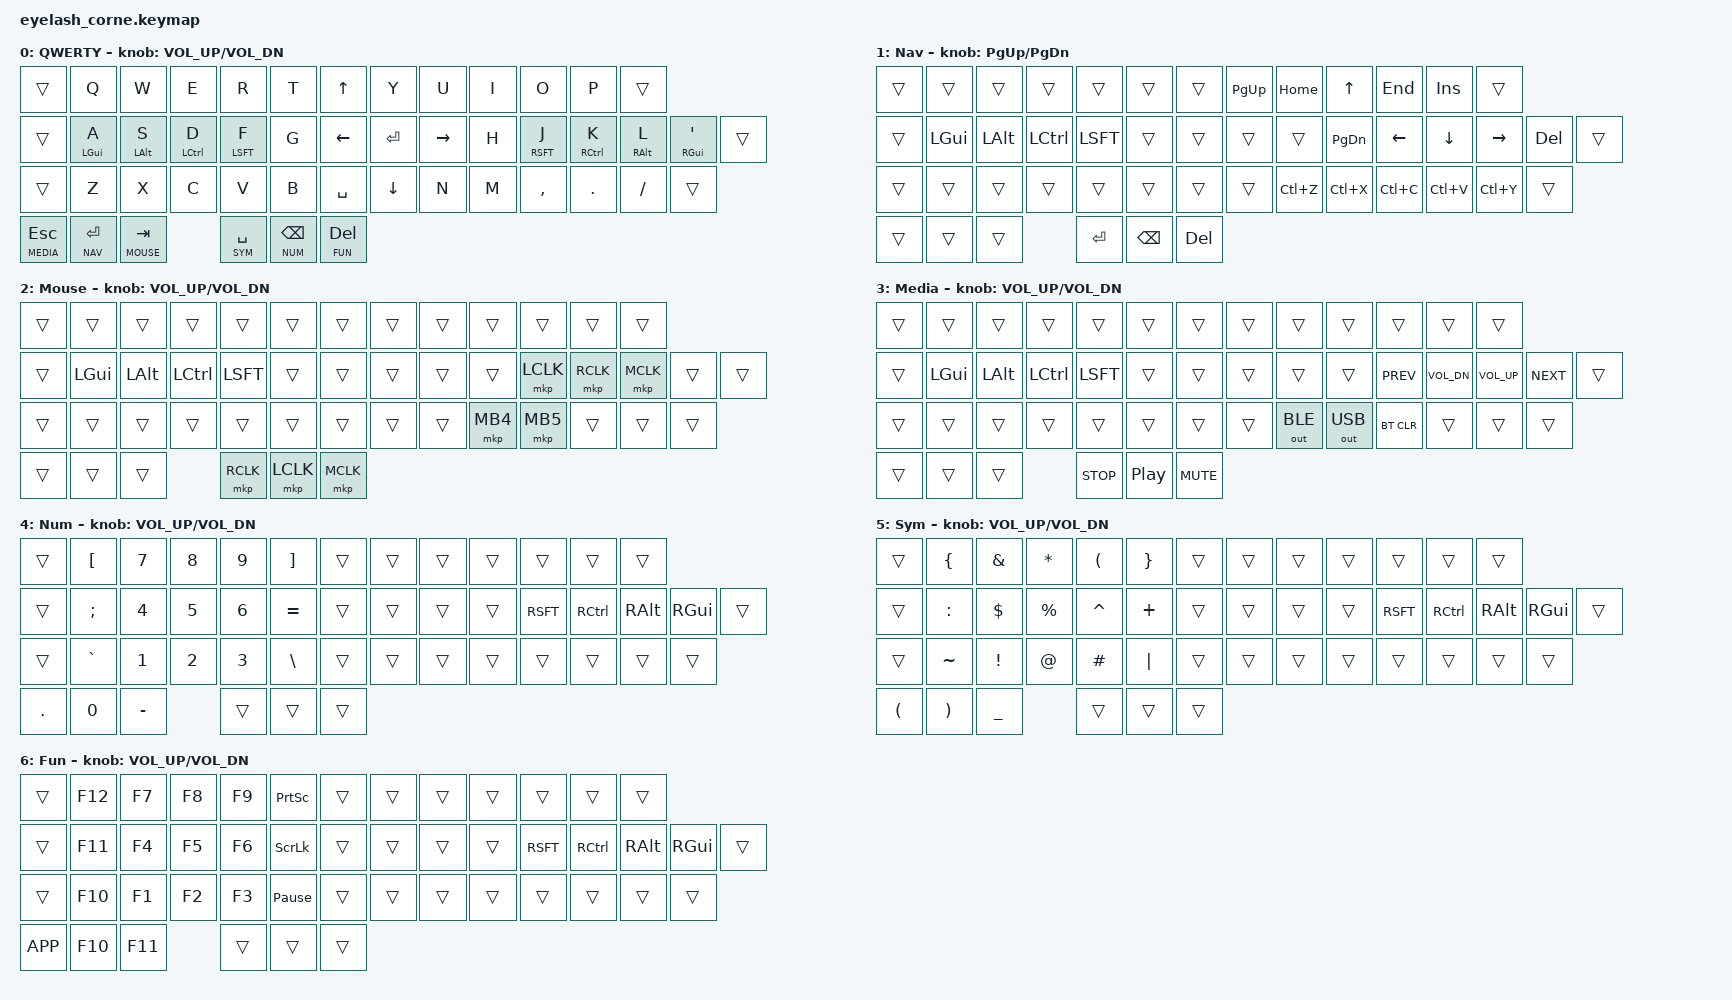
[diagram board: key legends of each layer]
/*
 * Miryoku · QWERTY · Windows clipboard
 * for Eyelash Corne (42-key + encoder left + joystick right)
 */

#include <behaviors.dtsi>
#include <dt-bindings/zmk/bt.h>
#include <dt-bindings/zmk/keys.h>
#include <dt-bindings/zmk/mouse.h>
#include <dt-bindings/zmk/outputs.h>

#define BASE  0
#define NAV   1
#define MOUSE 2
#define MEDIA 3
#define NUM   4
#define SYM   5
#define FUN   6

/ {
    behaviors {
        hm: homerow_mods {
            compatible = "zmk,behavior-hold-tap";
            label = "HOMEROW_MODS";
            #binding-cells = <2>;
            tapping-term-ms = <200>;
            quick-tap-ms = <0>;
            flavor = "tap-preferred";
            bindings = <&kp>, <&kp>;
        };
    };

    keymap {
        compatible = "zmk,keymap";

        base_layer {
            display-name = "QWERTY";
            bindings = <
// 13: outer_L  Q           W           E           R           T           joy_up      Y           U           I           O           P           outer_R
   &trans       &kp Q       &kp W       &kp E       &kp R       &kp T       &kp UP      &kp Y       &kp U       &kp I       &kp O       &kp P       &trans
// 15: outer_L  A(gui)      S(alt)      D(ctl)      F(sft)      G           joy_L       joy_press   joy_R       H           J(sft)      K(ctl)      L(alt)      '(gui)      outer_R
   &trans       &hm LGUI A  &hm LALT S  &hm LCTL D  &hm LSFT F  &kp G       &kp LEFT    &kp RET     &kp RIGHT   &kp H       &hm RSFT J  &hm RCTL K  &hm RALT L  &hm RGUI SQT &trans
// 14: outer_L  Z           X           C           V           B           enc_press   joy_dn      N           M           ,           .           /           outer_R
   &trans       &kp Z       &kp X       &kp C       &kp V       &kp B       &kp SPACE   &kp DOWN    &kp N       &kp M       &kp COMMA   &kp DOT     &kp FSLH    &trans
// 6 thumbs:
    &lt MEDIA ESC  &lt NAV RET  &lt MOUSE TAB  &lt SYM SPC  &lt NUM BSPC  &lt FUN DEL
            >;
            sensor-bindings = <&inc_dec_kp C_VOL_UP C_VOL_DN>;
        };

        nav_layer {
            display-name = "Nav";
            bindings = <
   &trans  &trans    &trans    &trans    &trans    &trans    &trans  &kp PG_UP  &kp HOME   &kp UP     &kp END    &kp INS    &trans
   &trans  &kp LGUI  &kp LALT  &kp LCTL  &kp LSFT  &trans    &trans  &trans     &trans     &kp PG_DN  &kp LEFT   &kp DOWN   &kp RIGHT  &kp DEL   &trans
   &trans  &trans    &trans    &trans    &trans    &trans    &trans  &trans     &kp LC(Z)  &kp LC(X)  &kp LC(C)  &kp LC(V)  &kp LC(Y)  &trans
   &trans  &trans  &trans  &kp RET  &kp BSPC  &kp DEL
            >;
            sensor-bindings = <&inc_dec_kp PG_UP PG_DN>;
        };

        mouse_layer {
            display-name = "Mouse";
            bindings = <
   &trans  &trans    &trans    &trans    &trans    &trans    &trans  &trans  &trans     &trans     &trans     &trans     &trans
   &trans  &kp LGUI  &kp LALT  &kp LCTL  &kp LSFT  &trans    &trans  &trans  &trans     &trans     &mkp LCLK  &mkp RCLK  &mkp MCLK  &trans  &trans
   &trans  &trans    &trans    &trans    &trans    &trans    &trans  &trans  &trans     &mkp MB4   &mkp MB5   &trans     &trans     &trans
   &trans  &trans  &trans  &mkp RCLK  &mkp LCLK  &mkp MCLK
            >;
            sensor-bindings = <&inc_dec_kp C_VOL_UP C_VOL_DN>;
        };

        media_layer {
            display-name = "Media";
            bindings = <
   &trans  &trans    &trans    &trans    &trans    &trans    &trans  &trans        &trans        &trans        &trans        &trans      &trans
   &trans  &kp LGUI  &kp LALT  &kp LCTL  &kp LSFT  &trans    &trans  &trans  &trans  &trans  &kp C_PREV  &kp C_VOL_DN  &kp C_VOL_UP  &kp C_NEXT  &trans
   &trans  &trans    &trans    &trans    &trans    &trans    &trans  &trans  &out OUT_BLE  &out OUT_USB  &bt BT_CLR  &trans  &trans  &trans
   &trans  &trans  &trans  &kp C_STOP  &kp C_PP  &kp C_MUTE
            >;
            sensor-bindings = <&inc_dec_kp C_VOL_UP C_VOL_DN>;
        };

        num_layer {
            display-name = "Num";
            bindings = <
   &trans  &kp LBKT   &kp N7  &kp N8  &kp N9  &kp RBKT   &trans  &trans  &trans  &trans    &trans    &trans    &trans
   &trans  &kp SEMI   &kp N4  &kp N5  &kp N6  &kp EQUAL  &trans  &trans  &trans  &trans    &kp RSFT  &kp RCTL  &kp RALT  &kp RGUI  &trans
   &trans  &kp GRAVE  &kp N1  &kp N2  &kp N3  &kp BSLH   &trans  &trans  &trans  &trans    &trans    &trans    &trans    &trans
   &kp DOT  &kp N0  &kp MINUS  &trans  &trans  &trans
            >;
            sensor-bindings = <&inc_dec_kp C_VOL_UP C_VOL_DN>;
        };

        sym_layer {
            display-name = "Sym";
            bindings = <
   &trans  &kp LBRC   &kp AMPS  &kp ASTRK  &kp LPAR   &kp RBRC  &trans  &trans  &trans  &trans    &trans    &trans    &trans
   &trans  &kp COLON  &kp DLLR  &kp PRCNT  &kp CARET  &kp PLUS  &trans  &trans  &trans  &trans    &kp RSFT  &kp RCTL  &kp RALT  &kp RGUI  &trans
   &trans  &kp TILDE  &kp EXCL  &kp AT     &kp HASH   &kp PIPE  &trans  &trans  &trans  &trans    &trans    &trans    &trans    &trans
   &kp LPAR  &kp RPAR  &kp UNDER  &trans  &trans  &trans
            >;
            sensor-bindings = <&inc_dec_kp C_VOL_UP C_VOL_DN>;
        };

        fun_layer {
            display-name = "Fun";
            bindings = <
   &trans  &kp F12  &kp F7  &kp F8  &kp F9  &kp PSCRN        &trans  &trans  &trans  &trans    &trans    &trans    &trans
   &trans  &kp F11  &kp F4  &kp F5  &kp F6  &kp SLCK         &trans  &trans  &trans  &trans    &kp RSFT  &kp RCTL  &kp RALT  &kp RGUI  &trans
   &trans  &kp F10  &kp F1  &kp F2  &kp F3  &kp PAUSE_BREAK  &trans  &trans  &trans  &trans    &trans    &trans    &trans    &trans
   &kp K_APP  &kp F10  &kp F11  &trans  &trans  &trans
            >;
            sensor-bindings = <&inc_dec_kp C_VOL_UP C_VOL_DN>;
        };

    };
};
